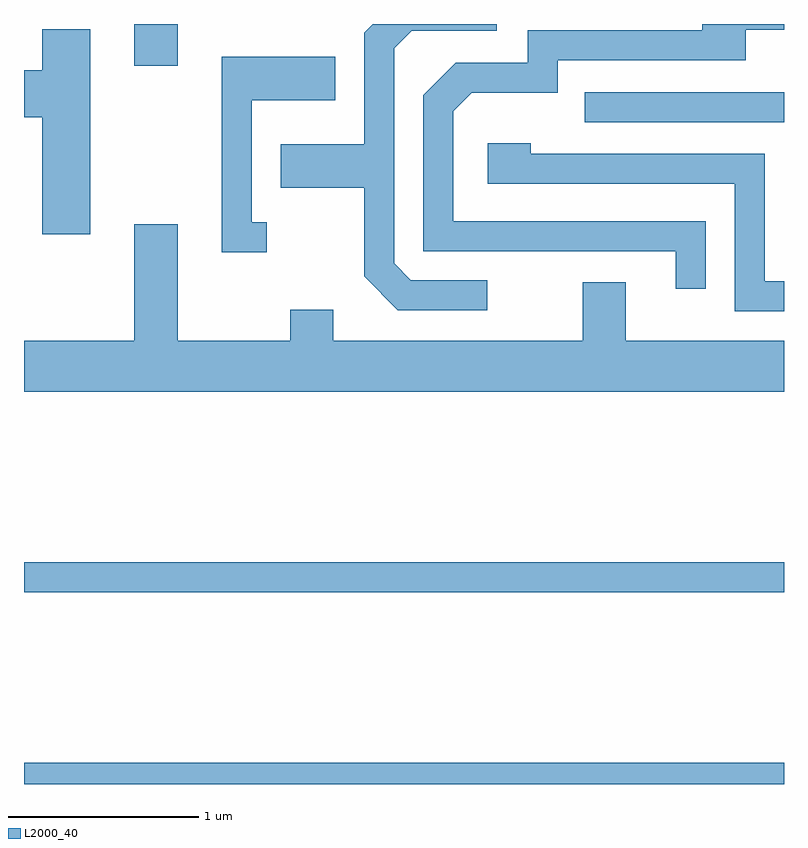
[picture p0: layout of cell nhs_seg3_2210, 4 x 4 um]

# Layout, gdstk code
import gdstk
lib = gdstk.Library(unit=1e-6, precision=1e-09)
def R(c, l, rs):  # rectangles x0, y0, x1, y1
    for r in rs: c.add(gdstk.rectangle(r[:2], r[2:], *l))
def P(c, l, *ps):  # polygons
    for p in ps: c.add(gdstk.Polygon(p, *l))
L2000_40 = (2000, 40)

nhs_seg3_2210 = lib.new_cell('nhs_seg3_2210')
R(nhs_seg3_2210, L2000_40, [(249.611,1183.892,253.611,1184.004), (249.611,1184.901,253.611,1185.059), (252.563,1187.376,253.611,1187.534), (250.191,1187.671,250.419,1187.892)])
P(nhs_seg3_2210, L2000_40, [(253.199,1186.854),(251.869,1186.854),(251.869,1187.434),(251.967,1187.531),(252.419,1187.531),(252.419,1187.701),(253.409,1187.701),(253.409,1187.861),(253.611,1187.861),(253.611,1187.892),(253.181,1187.892),(253.181,1187.859),(252.261,1187.859),(252.261,1187.689),(251.884,1187.689),(251.711,1187.517),(251.711,1186.696),(253.041,1186.696),(253.041,1186.498),(253.199,1186.498)],
  [(252.048,1186.544),(251.647,1186.544),(251.559,1186.632),(251.559,1187.764),(251.652,1187.856),(252.098,1187.856),(252.098,1187.892),(251.446,1187.892),(251.401,1187.847),(251.401,1187.259),(250.961,1187.259),(250.961,1187.031),(251.401,1187.031),(251.401,1186.564),(251.579,1186.386),(252.048,1186.386)],
  [(249.959,1187.864),(249.706,1187.864),(249.706,1187.649),(249.611,1187.649),(249.611,1187.401),(249.706,1187.401),(249.706,1186.786),(249.959,1186.786)],
  [(250.888,1186.849),(250.809,1186.849),(250.809,1187.491),(251.249,1187.491),(251.249,1187.719),(250.651,1187.719),(250.651,1186.691),(250.888,1186.691)],
  [(253.611,1186.539),(253.509,1186.539),(253.509,1187.209),(252.279,1187.209),(252.279,1187.264),(252.051,1187.264),(252.051,1187.051),(253.351,1187.051),(253.351,1186.381),(253.611,1186.381)],
  [(253.611,1186.224),(252.779,1186.224),(252.779,1186.534),(252.551,1186.534),(252.551,1186.224),(251.239,1186.224),(251.239,1186.389),(251.011,1186.389),(251.011,1186.224),(250.419,1186.224),(250.419,1186.839),(250.191,1186.839),(250.191,1186.224),(249.611,1186.224),(249.611,1185.956),(253.611,1185.956)])

lib.write_gds('nhs_seg3_2210.gds')
